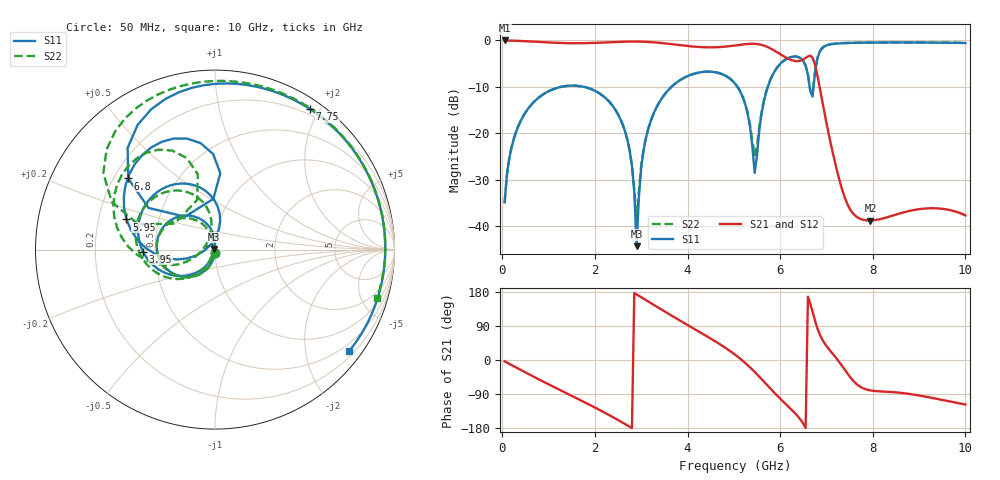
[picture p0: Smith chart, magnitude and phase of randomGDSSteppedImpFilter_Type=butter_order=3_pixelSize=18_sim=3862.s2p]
! freq	dB(S11)	phase(S11)	dB(S12)	phase(S12)
!  dB(S21)	phase(S21)	dB(S22)	phase(S22)
!S-par simulation data
#  GHz  S  DB  R 50
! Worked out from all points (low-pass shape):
!   200 points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, 50 MHz to 10 GHz, reference 50 ohm
!   highest |S21| = -0.01 dB at 50 MHz (marker M1); lowest = -38.8 dB at 7.95 GHz (marker M2)
!   |S21| within 3 dB of the highest: start of sweep to 6.009 GHz
!   lowest |S11| = -44.3 dB at 2.9 GHz (marker M3), VSWR 1.01, Z = 49.5 + j0.287 ohm
!   |S11| at or under -10 dB: start of sweep to 1.274 GHz; 1.756 GHz to 3.655 GHz (1.898 GHz wide, 70.2 % of centre); 5.075 GHz to 5.735 GHz (659.8 MHz wide, 12.2 % of centre) (the widest 3 of 4)
!   |S22| runs from -38.5 to -0.4 dB; largest |S21 - S12| = 0
!   S11 on the Smith chart (normalised r, x): 50 MHz: 1.00, -0.04; 3.95 GHz: 0.43, -0.01; 5.95 GHz: 0.32, +0.15; 6.8 GHz: 0.26, +0.34; 7.75 GHz: 0.13, +1.88; 10 GHz: 0.32, -2.95
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0.05  -34.92 -92.8  -0.01 -3.4  -0.01 -3.4  -34.92 -92.7
0.5  -15.54 -123.7  -0.17 -32.8  -0.17 -32.8  -15.53 -122.8
1.75  -9.99 158.2  -0.60 -109.8  -0.60 -109.8  -9.99 161.7
2.65  -19.58 99.2  -0.27 -168.9  -0.27 -168.9  -19.56 107.9
2.8  -27.06 90.0  -0.24 -179.7  -0.24 -179.7  -26.89 105.3
2.9  -44.34 151.4  -0.25 173.0  -0.25 173.0  -38.51 169.1
3.05  -23.68 -113.4  -0.28 162.0  -0.28 162.0  -23.53 -115.3
3.4  -13.18 -138.3  -0.52 135.9  -0.52 135.9  -13.15 -134.2
3.95  -7.93 -178.4  -1.15 95.9  -1.15 95.9  -7.92 -171.4
5.05  -9.63 98.9  -1.06 11.8  -1.06 11.8  -9.59 111.8
5.3  -15.88 79.7  -0.76 -13.8  -0.76 -13.8  -15.66 97.1
5.45  -28.55 124.1  -0.74 -31.5  -0.74 -31.5  -24.95 141.9
5.65  -13.08 -165.7  -1.12 -57.1  -1.12 -57.1  -12.88 -158.4
5.95  -5.66 161.2  -2.64 -95.8  -2.64 -95.8  -5.63 172.8
6.4  -3.61 110.5  -4.44 -151.3  -4.44 -151.3  -3.60 125.1
6.7  -12.11 132.3  -3.72 127.7  -3.72 127.7  -11.46 147.1
6.8  -4.08 140.7  -7.32 84.9  -7.32 84.9  -3.95 155.1
7.1  -0.81 98.0  -22.60 21.6  -22.60 21.6  -0.79 114.4
7.75  -0.49 55.9  -38.53 -72.0  -38.53 -72.0  -0.48 74.6
7.95  -0.47 45.9  -38.81 -80.3  -38.81 -80.3  -0.46 65.0
8.35  -0.45 27.4  -38.00 -84.1  -38.00 -84.1  -0.44 47.2
10  -0.56 -37.1  -37.70 -117.5  -37.70 -117.5  -0.51 -16.7
